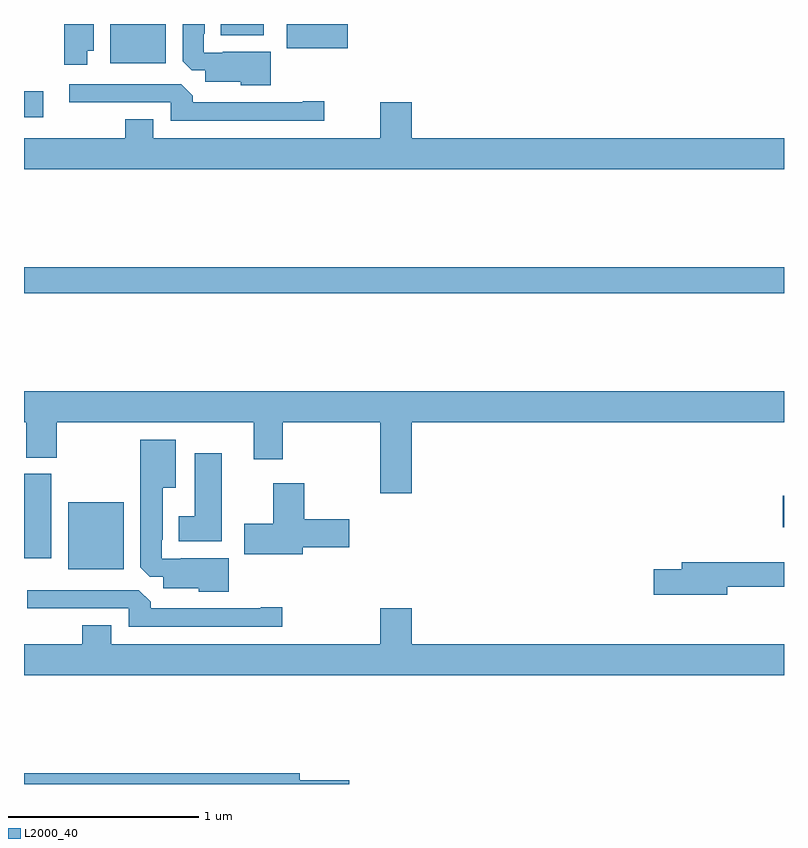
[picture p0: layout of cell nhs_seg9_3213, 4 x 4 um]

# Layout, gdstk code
import gdstk
lib = gdstk.Library(unit=1e-6, precision=1e-09)
def R(c, l, rs):  # rectangles x0, y0, x1, y1
    for r in rs: c.add(gdstk.rectangle(r[:2], r[2:], *l))
def P(c, l, *ps):  # polygons
    for p in ps: c.add(gdstk.Polygon(p, *l))
L2000_40 = (2000, 40)

nhs_seg9_3213 = lib.new_cell('nhs_seg9_3213')
R(nhs_seg9_3213, L2000_40, [(295.232,1211.63,295.525,1211.983), (295,1211.688,295.144,1212.132), (298.994,1211.852,299,1212.018), (295,1213.084,299,1213.22), (295,1214.009,295.102,1214.147), (295.454,1214.294,295.747,1214.5), (296.382,1214.372,296.704,1214.5), (296.036,1214.441,296.263,1214.5)])
P(nhs_seg9_3213, L2000_40, [(295.333,1214.36),(295.366,1214.36),(295.366,1214.5),(295.211,1214.5),(295.211,1214.286),(295.333,1214.286)],
  [(296.299,1214.353),(296.047,1214.353),(296.047,1214.349),(295.947,1214.349),(295.947,1214.449),(295.951,1214.449),(295.951,1214.5),(295.835,1214.5),(295.835,1214.305),(295.884,1214.256),(295.955,1214.256),(295.955,1214.195),(296.142,1214.195),(296.142,1214.177),(296.299,1214.177)],
  [(296.581,1214.093),(296.468,1214.093),(296.468,1214.088),(295.889,1214.088),(295.889,1214.122),(295.827,1214.184),(295.239,1214.184),(295.239,1214.088),(295.773,1214.088),(295.773,1213.992),(296.581,1213.992)],
  [(299,1213.9),(297.04,1213.9),(297.04,1214.089),(296.876,1214.089),(296.876,1213.9),(295.681,1213.9),(295.681,1213.999),(295.534,1213.999),(295.534,1213.9),(295,1213.9),(295,1213.736),(299,1213.736)],
  [(297.04,1212.404),(299,1212.404),(299,1212.568),(295,1212.568),(295,1212.404),(295.013,1212.404),(295.013,1212.217),(295.173,1212.217),(295.173,1212.404),(296.21,1212.404),(296.21,1212.21),(296.363,1212.21),(296.363,1212.404),(296.876,1212.404),(296.876,1212.03),(297.04,1212.03)],
  [(296.077,1211.689),(295.825,1211.689),(295.825,1211.685),(295.725,1211.685),(295.725,1211.785),(295.729,1211.785),(295.729,1212.059),(295.798,1212.059),(295.798,1212.313),(295.613,1212.313),(295.613,1211.641),(295.662,1211.592),(295.733,1211.592),(295.733,1211.531),(295.92,1211.531),(295.92,1211.513),(296.077,1211.513)],
  [(296.041,1212.241),(295.898,1212.241),(295.898,1211.908),(295.814,1211.908),(295.814,1211.777),(296.041,1211.777)],
  [(296.467,1211.747),(296.713,1211.747),(296.713,1211.894),(296.475,1211.894),(296.475,1212.082),(296.312,1212.082),(296.312,1211.871),(296.16,1211.871),(296.16,1211.708),(296.467,1211.708)],
  [(298.702,1211.538),(299,1211.538),(299,1211.666),(298.463,1211.666),(298.463,1211.63),(298.314,1211.63),(298.314,1211.495),(298.702,1211.495)],
  [(296.359,1211.429),(296.246,1211.429),(296.246,1211.424),(295.667,1211.424),(295.667,1211.458),(295.605,1211.52),(295.017,1211.52),(295.017,1211.424),(295.551,1211.424),(295.551,1211.328),(296.359,1211.328)],
  [(299,1211.236),(297.04,1211.236),(297.04,1211.425),(296.876,1211.425),(296.876,1211.236),(295.459,1211.236),(295.459,1211.335),(295.307,1211.335),(295.307,1211.236),(295,1211.236),(295,1211.072),(299,1211.072)],
  [(296.713,1210.52),(296.452,1210.52),(296.452,1210.556),(295,1210.556),(295,1210.5),(296.713,1210.5)])

lib.write_gds('nhs_seg9_3213.gds')
